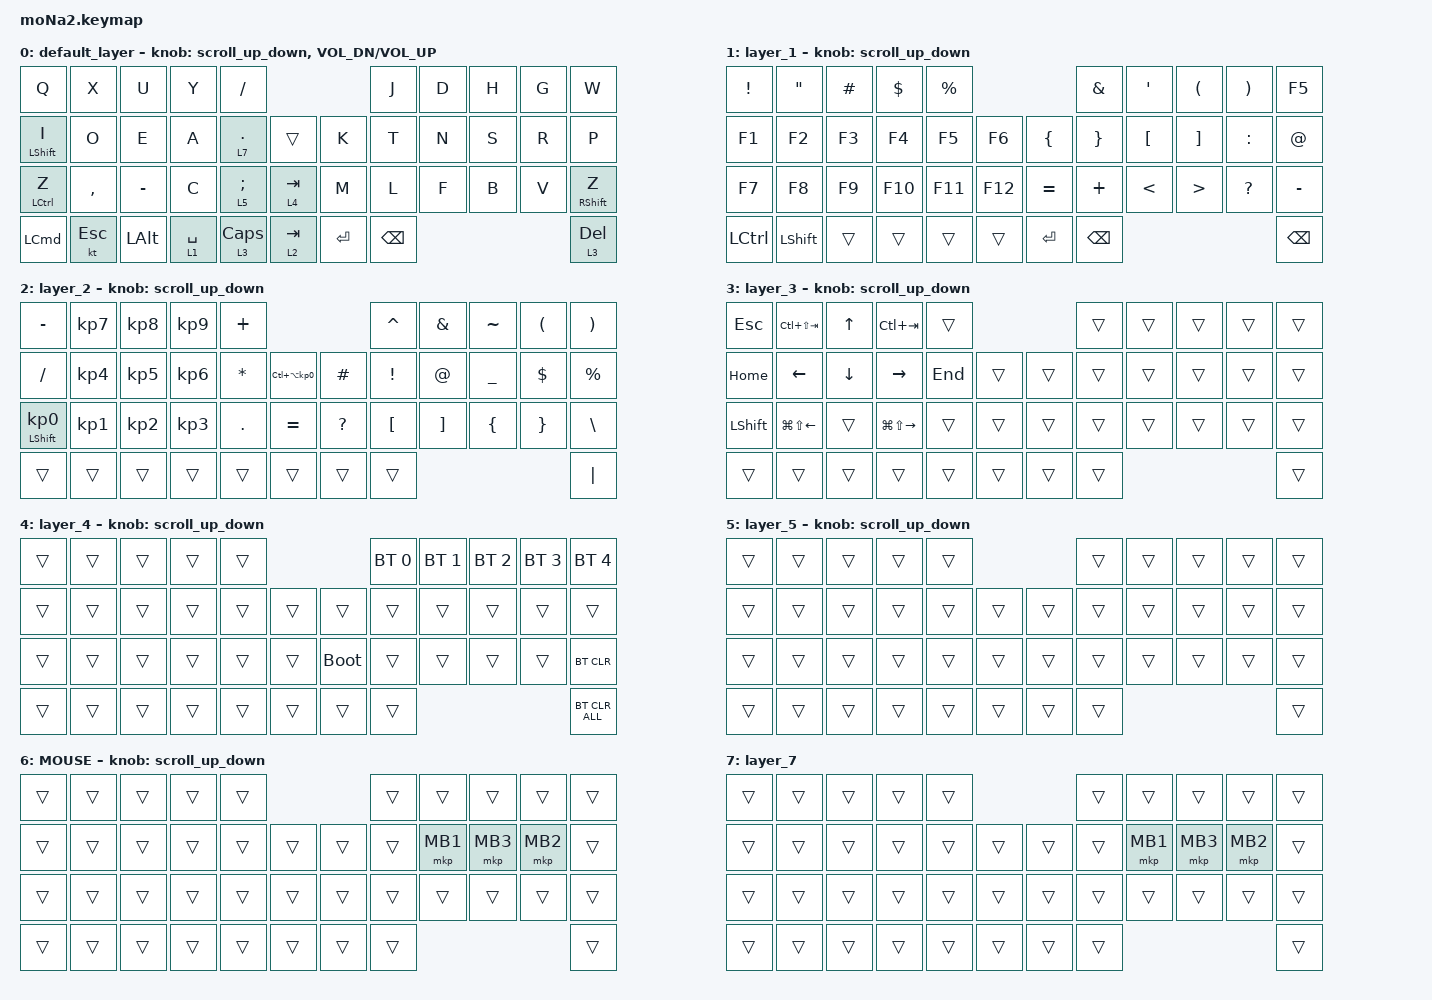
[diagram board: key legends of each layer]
#include <behaviors.dtsi>
#include <dt-bindings/zmk/bt.h>
#include <dt-bindings/zmk/keys.h>
#include <dt-bindings/zmk/pointing.h>

#define ZMK_POINTING_DEFAULT_SCRL_VAL 100
#define MOUSE 6

&mt {
    flavor = "balanced";
    quick-tap-ms = <0>;
};

/ {
    combos { compatible = "zmk,combos"; };

    macros {
        to_layer_0: to_layer_0 {
            compatible = "zmk,behavior-macro-one-param";
            #binding-cells = <1>;
            bindings = <&to 0 &macro_param_1to1 &kp MACRO_PLACEHOLDER>;
            label = "TO_LAYER_0";
        };
    };

    behaviors {
        lt_to_layer_0: lt_to_layer_0 {
            compatible = "zmk,behavior-hold-tap";
            label = "LAYER_TAP_TO_0";
            bindings = <&mo>, <&to_layer_0>;

            #binding-cells = <2>;
            tapping-term-ms = <200>;
        };

        scroll_up_down: behavior_sensor_rotate_mouse_wheel_up_down {
            compatible = "zmk,behavior-sensor-rotate";
            #sensor-binding-cells = <0>;
            bindings = <&msc SCRL_UP>, <&msc SCRL_DOWN>;

            tap-ms = <20>;
        };
    };

    keymap {
        compatible = "zmk,keymap";

        default_layer {
            bindings = <
&kp Q               &kp X       &kp U         &kp Y        &kp SLASH                               &kp J          &kp D  &kp H  &kp G  &kp W
&mt LEFT_SHIFT I    &kp O       &kp E         &kp A        &lt 7 PERIOD    &trans       &kp K      &kp T          &kp N  &kp S  &kp R  &kp P
&mt LEFT_CONTROL Z  &kp COMMA   &kp MINUS     &kp C        &lt 5 SEMI      &lt 4 TAB    &kp M      &kp L          &kp F  &kp B  &kp V  &mt RIGHT_SHIFT Z
&kp LEFT_COMMAND    &kt ESCAPE  &kp LEFT_ALT  &lt 1 SPACE  &lt 3 CAPSLOCK  &lt 2 TAB    &kp ENTER  &kp BACKSPACE                       &lt 3 DELETE
            >;

            sensor-bindings =
                <&scroll_up_down>,
                <&inc_dec_kp C_VOL_DN C_VOL_UP>;
        };

        layer_1 {
            bindings = <
&kp EXCLAMATION   &kp DOUBLE_QUOTES  &kp HASH  &kp DOLLAR  &kp PERCENT                             &kp AMPERSAND    &kp SQT           &kp LPAR           &kp RIGHT_PARENTHESIS  &kp F5
&kp F1            &kp F2             &kp F3    &kp F4      &kp F5       &kp F6     &kp LEFT_BRACE  &kp RIGHT_BRACE  &kp LEFT_BRACKET  &kp RIGHT_BRACKET  &kp COLON              &kp AT_SIGN
&kp F7            &kp F8             &kp F9    &kp F10     &kp F11      &kp F12    &kp EQUAL       &kp PLUS         &kp LESS_THAN     &kp GREATER_THAN   &kp QUESTION           &kp MINUS
&kp LEFT_CONTROL  &kp LEFT_SHIFT     &trans    &trans      &trans       &trans     &kp ENTER       &kp BACKSPACE                                                                &kp BACKSPACE
            >;

            sensor-bindings = <&scroll_up_down>;
        };

        layer_2 {
            bindings = <
&kp MINUS                   &kp KP_NUMBER_7  &kp KP_NUMBER_8  &kp KP_NUMBER_9  &kp PLUS                                               &kp CARET         &kp AMPERSAND      &kp TILDE       &kp LEFT_PARENTHESIS  &kp RIGHT_PARENTHESIS
&kp SLASH                   &kp KP_NUMBER_4  &kp KP_NUMBER_5  &kp KP_NUMBER_6  &kp ASTERISK  &kp LC(LA(KP_NUMBER_0))    &kp HASH      &kp EXCLAMATION   &kp AT_SIGN        &kp UNDERSCORE  &kp DOLLAR            &kp PERCENT
&mt LEFT_SHIFT KP_NUMBER_0  &kp KP_NUMBER_1  &kp KP_NUMBER_2  &kp KP_NUMBER_3  &kp PERIOD    &kp EQUAL                  &kp QUESTION  &kp LEFT_BRACKET  &kp RIGHT_BRACKET  &kp LEFT_BRACE  &kp RIGHT_BRACE       &kp BACKSLASH
&trans                      &trans           &trans           &trans           &trans        &trans                     &trans        &trans                                                                     &kp PIPE
            >;

            sensor-bindings = <&scroll_up_down>;
        };

        layer_3 {
            bindings = <
&kp ESCAPE      &kp LC(LS(TAB))         &kp UP_ARROW    &kp LC(TAB)              &trans                     &trans  &trans  &trans  &trans  &trans
&kp HOME        &kp LEFT_ARROW          &kp DOWN_ARROW  &kp RIGHT_ARROW          &kp END  &trans    &trans  &trans  &trans  &trans  &trans  &trans
&kp LEFT_SHIFT  &kp LG(LS(LEFT_ARROW))  &trans          &kp LG(LS(RIGHT_ARROW))  &trans   &trans    &trans  &trans  &trans  &trans  &trans  &trans
&trans          &trans                  &trans          &trans                   &trans   &trans    &trans  &trans                          &trans
            >;

            sensor-bindings = <&scroll_up_down>;
        };

        layer_4 {
            bindings = <
&trans  &trans  &trans  &trans  &trans                         &bt BT_SEL 0  &bt BT_SEL 1  &bt BT_SEL 2  &bt BT_SEL 3  &bt BT_SEL 4
&trans  &trans  &trans  &trans  &trans  &trans    &trans       &trans        &trans        &trans        &trans        &trans
&trans  &trans  &trans  &trans  &trans  &trans    &bootloader  &trans        &trans        &trans        &trans        &bt BT_CLR
&trans  &trans  &trans  &trans  &trans  &trans    &trans       &trans                                                  &bt BT_CLR_ALL
            >;

            sensor-bindings = <&scroll_up_down>;
        };

        layer_5 {
            bindings = <
&trans  &trans  &trans  &trans  &trans                    &trans  &trans  &trans  &trans  &trans
&trans  &trans  &trans  &trans  &trans  &trans    &trans  &trans  &trans  &trans  &trans  &trans
&trans  &trans  &trans  &trans  &trans  &trans    &trans  &trans  &trans  &trans  &trans  &trans
&trans  &trans  &trans  &trans  &trans  &trans    &trans  &trans                          &trans
            >;

            sensor-bindings = <&scroll_up_down>;
        };

        MOUSE {
            bindings = <
&trans  &trans  &trans  &trans  &trans                    &trans  &trans    &trans    &trans    &trans
&trans  &trans  &trans  &trans  &trans  &trans    &trans  &trans  &mkp MB1  &mkp MB3  &mkp MB2  &trans
&trans  &trans  &trans  &trans  &trans  &trans    &trans  &trans  &trans    &trans    &trans    &trans
&trans  &trans  &trans  &trans  &trans  &trans    &trans  &trans                                &trans
            >;

            sensor-bindings = <&scroll_up_down>;
        };

        layer_7 {
            bindings = <
&trans  &trans  &trans  &trans  &trans                    &trans  &trans    &trans    &trans    &trans
&trans  &trans  &trans  &trans  &trans  &trans    &trans  &trans  &mkp MB1  &mkp MB3  &mkp MB2  &trans
&trans  &trans  &trans  &trans  &trans  &trans    &trans  &trans  &trans    &trans    &trans    &trans
&trans  &trans  &trans  &trans  &trans  &trans    &trans  &trans                                &trans
            >;
        };
    };
};
